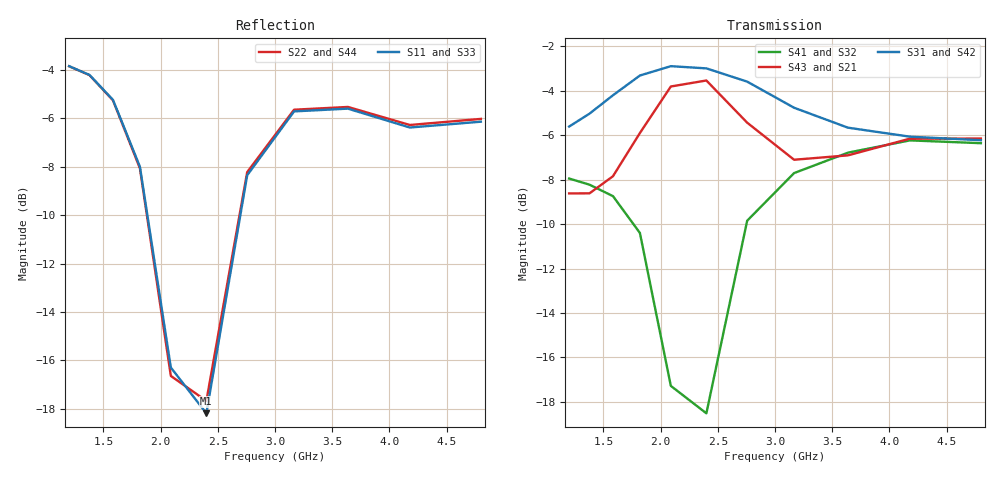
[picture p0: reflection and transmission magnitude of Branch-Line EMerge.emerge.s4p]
! Generated by circuitRF - EM: EMerge
! circuitRF-EM setup: Branch-Line EMerge
! circuitRF-EM layout: Branch-Line.c3d
! circuitRF-EM written: 2026-11-15 22:13:55Z
! circuitRF-EM stamp: 20261115T221354Z-1c79150b
! circuitRF-EM geometry: a30b84eaf630565e
! circuitRF-EM mesh settings: 052857159ca3006f
! circuitRF-EM ports: 5f97844676b7ffb8
! circuitRF-EM model: EMerge 3.0.0
! Port[1] = P1
! Port[2] = P2
! Port[3] = P3
! Port[4] = P4
! circuitRF-EM port 1: 'port/1' from 'U1/Bottom Copper (1 oz)/1' to 'U1/Top Copper (1 oz)/1', lumped, 50 Ohm
! circuitRF-EM port 2: 'port/2' from 'U1/Bottom Copper (1 oz)/1' to 'U1/Top Copper (1 oz)/1', lumped, 50 Ohm
! circuitRF-EM port 3: 'port/3' from 'U1/Bottom Copper (1 oz)/1' to 'U1/Top Copper (1 oz)/1', lumped, 50 Ohm
! circuitRF-EM port 4: 'port/4' from 'U1/Bottom Copper (1 oz)/1' to 'U1/Top Copper (1 oz)/1', lumped, 50 Ohm
! Port 1 = P01  P1  net=?  ref=U1/Bottom Copper (1 oz)/1  uncalibrated
! Port 2 = P02  P2  net=?  ref=U1/Bottom Copper (1 oz)/1  uncalibrated
! Port 3 = P03  P3  net=?  ref=U1/Bottom Copper (1 oz)/1  uncalibrated
! Port 4 = P04  P4  net=?  ref=U1/Bottom Copper (1 oz)/1  uncalibrated
! DC: none, the lowest row is 1.2 GHz; a circuit's DC solve through this file takes that row as DC
! circuitRF-EM 3D mesh: 7377 tetrahedra, element order 2
! circuitRF-EM 3D operating temperature: 20 C
! circuitRF-EM 3D run: preset Draft; 7377 tetrahedra; 52786 unknowns; adaptive sweep, 13 frequency sample(s), estimated error 2.93E-05
! circuitRF-EM 3D run cost: wall 62 s; EMerge peak memory 1.3 GB
! circuitRF-EM: re-running the EM setup rewrites this file. If circuitRF reports it as stale, the layout's cross-section changed after this file was written.
# GHz S RI R 50
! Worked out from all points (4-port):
!   11 points, 1.2 GHz to 4.8 GHz, reference 50 ohm
!   strongest paths, dB at 1.2 GHz, 1.583 GHz, 2.4 GHz, 3.638 GHz, 4.8 GHz:
!     S31: -5.6, -4.2, -3.0, -5.7, -6.2
!     S42: -5.6, -4.2, -3.0, -5.7, -6.3
!     S43: -8.6, -7.8, -3.5, -6.9, -6.1
!     S21: -8.6, -7.9, -3.5, -6.9, -6.3
!     S41: -7.9, -8.7, -18.5, -6.8, -6.4
!     S32: -8.0, -8.8, -18.4, -6.8, -6.5
!   lowest |S11| = -18.2 dB at 2.4 GHz (marker M1), VSWR 1.28, Z = 39.7 - j4.04 ohm
!   |S11| at or under -10 dB: 1.884 GHz to 2.697 GHz (812.7 MHz wide, 35.5 % of centre)
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1.2  -0.4376 0.4709  0.0801 -0.3616  -0.2092 -0.4809  -0.0689 -0.3946
     0.0801 -0.3616  -0.439 0.4693  -0.0674 -0.3942  -0.2093 -0.4818
     -0.2092 -0.4809  -0.0675 -0.3942  -0.4405 0.4687  0.0808 -0.3619
     -0.0689 -0.3946  -0.2094 -0.4818  0.0808 -0.3619  -0.4388 0.4686
1.81886  0.0886 0.3884  -0.0888 -0.4991  -0.6832 0.00477  -0.2929 -0.0741
         -0.0888 -0.4991  0.0869 0.3858  -0.2909 -0.0761  -0.6855 0.00661
         -0.6832 0.00485  -0.2909 -0.076  0.0838 0.3904  -0.0882 -0.4994
         -0.2929 -0.0741  -0.6855 0.00664  -0.0882 -0.4994  0.0868 0.3844
2.089321  0.1039 0.1126  -0.3867 -0.5168  -0.583 0.4177  -0.1229 0.06
          -0.3867 -0.5168  0.0994 0.1085  -0.1225 0.0574  -0.5819 0.4219
          -0.583 0.4177  -0.1225 0.0574  0.1018 0.1161  -0.3857 -0.5176
          -0.1229 0.06  -0.5819 0.4219  -0.3856 -0.5176  0.0989 0.1069
2.4  -0.1125 -0.0501  -0.642 -0.1769  -0.1857 0.6843  0.0107 -0.1181
     -0.642 -0.1769  -0.1206 -0.0504  0.0101 -0.1197  -0.1806 0.6841
     -0.1856 0.6843  0.0101 -0.1197  -0.1116 -0.0488  -0.6414 -0.1787
     0.0107 -0.1181  -0.1805 0.6841  -0.6414 -0.1788  -0.1214 -0.052
3.166819  -0.3473 0.3848  -0.3361 0.2867  0.5567 0.1563  -0.412 -0.00898
          -0.3361 0.2867  -0.3508 0.3873  -0.4118 -0.0104  0.5533 0.1546
          0.5567 0.1562  -0.4118 -0.0103  -0.3519 0.3814  -0.3377 0.2845
          -0.412 -0.00898  0.5533 0.1545  -0.3377 0.2844  -0.3525 0.386
4.178643  0.1232 0.464  0.0948 0.4799  0.0518 -0.495  -0.0205 0.4878
          0.0947 0.4798  0.1201 0.4708  -0.0233 0.4844  0.0528 -0.4921
          0.0517 -0.495  -0.0231 0.4844  0.1159 0.4658  0.0898 0.4842
          -0.0205 0.4877  0.0527 -0.4921  0.0897 0.4843  0.1179 0.4648
4.8  0.3067 0.3867  0.4031 0.2703  -0.4062 -0.2716  0.3645 0.3141
     0.403 0.2703  0.3083 0.3939  0.3578 0.3134  -0.4037 -0.2722
     -0.4062 -0.2714  0.3579 0.3132  0.2982 0.3903  0.4064 0.2787
     0.3645 0.3141  -0.4038 -0.2721  0.4064 0.2789  0.2962 0.3873
